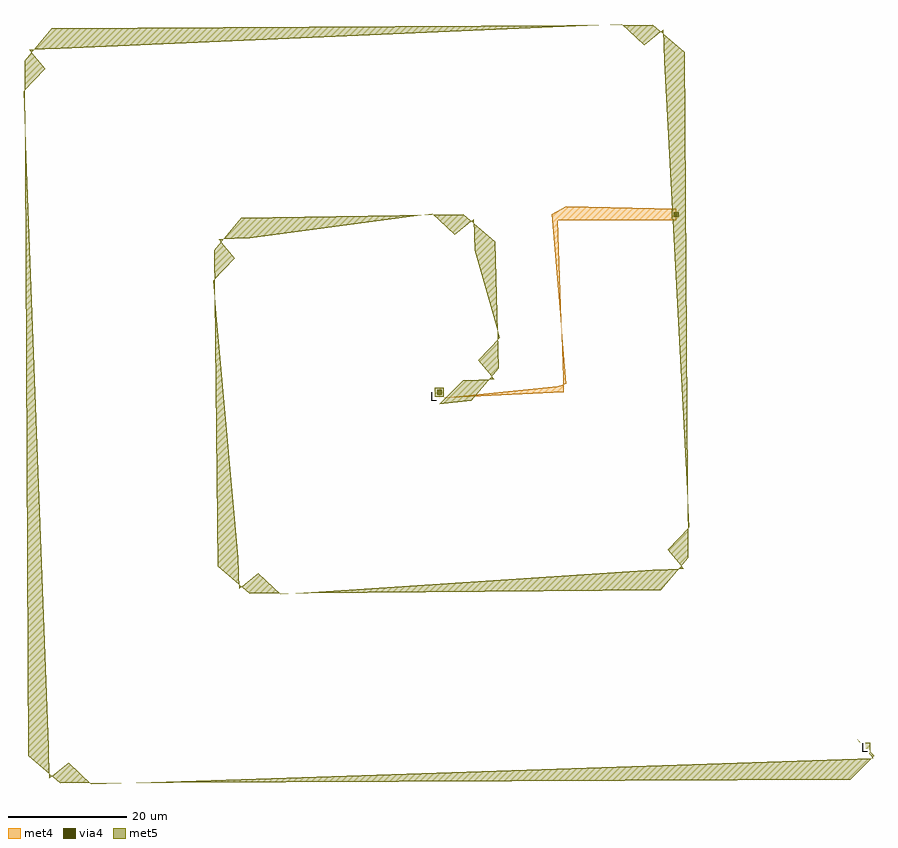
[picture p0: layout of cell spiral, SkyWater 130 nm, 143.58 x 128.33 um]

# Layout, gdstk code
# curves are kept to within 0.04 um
import gdstk
lib = gdstk.Library(unit=1e-6, precision=1e-09)
def R(c, l, rs):  # rectangles x0, y0, x1, y1
    for r in rs: c.add(gdstk.rectangle(r[:2], r[2:], *l))
def P(c, l, *ps):  # polygons
    for p in ps: c.add(gdstk.Polygon(p, *l))
met4 = (71, 20)
via4 = (71, 44)
met5 = (72, 20)

spiral = lib.new_cell('spiral')
P(spiral, met4, [(0,-1),(20,1),(21.414,1.414),(19,30),(21.414,31.414),(40,31),(40,29),(20,29),(21,0)])
R(spiral, via4, [(-0.4,-0.4,0.4,0.4), (39.6,29.6,40.4,30.4)])
R(spiral, met5, [(71.24,-60.76,72.76,-59.24), (-0.76,-0.76,0.76,0.76), (39.24,29.24,40.76,30.76)])
P(spiral, met5, [(-58.774,-66.165),(73.226,-61.835),(70.586,-58.586),(73.414,-61.414),(69.414,-65.414),(-64,-66),(-69.414,-61.414),(-70,56),(-65.414,61.414),(36,62),(41.414,57.414),(42,-28),(37.414,-33.414),(-32,-34),(-37.414,-29.414),(-38,24),(-33.414,29.414),(4,30),(9.414,25.414),(10,4),(5.414,-1.414),(0,-2),(4,2),(9.226,2.165),(6.586,5.414),(10.165,9.226),(6,24),(5.835,29.226),(2.586,26.586),(-1.226,30.165),(-32,26),(-37.226,25.835),(-34.586,22.586),(-38.165,18.774),(-34,-28),(-33.835,-33.226),(-30.586,-30.586),(-26.774,-34.165),(36,-30),(41.226,-29.835),(38.586,-26.586),(42.165,-22.774),(38,56),(37.835,61.226),(34.586,58.586),(30.774,62.165),(-64,58),(-69.226,57.835),(-66.586,54.586),(-70.165,50.774),(-65.835,-65.226),(-62.586,-62.586)])
spiral.add(gdstk.Label('L', (-0.76,-0.76), layer=72, texttype=5))
spiral.add(gdstk.Label('L', (72,-60), layer=72, texttype=5))

lib.write_gds('spiral.gds')
